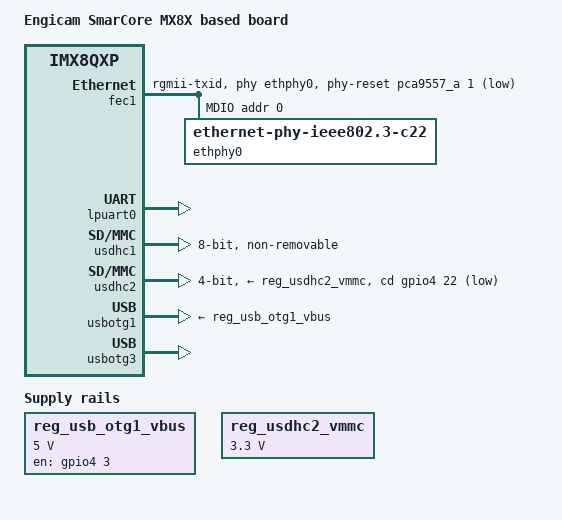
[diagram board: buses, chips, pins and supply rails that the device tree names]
// SPDX-License-Identifier: GPL-2.0+
/*
 * Copyright 2017-2019 NXP
 */

/dts-v1/;

#include "fsl-imx8qxp.dtsi"

/ {
	model = "Engicam SmarCore MX8X based board";
	compatible = "fsl,imx8qxp-lpddr4-arm2", "fsl,imx8qxp";

	aliases {
		gpio8 = &pca9557_a;
		gpio9 = &pca9557_b;
		gpio10 = &pca9557_c;
	};

	chosen {
		bootargs = "console=ttyLP0,115200 earlycon=lpuart32,0x5a060000,115200";
		stdout-path = &lpuart0;
	};

	regulators {
		compatible = "simple-bus";
		#address-cells = <1>;
		#size-cells = <0>;

		reg_usb_otg1_vbus: regulator@0 {
			compatible = "regulator-fixed";
			reg = <0>;
			regulator-name = "usb_otg1_vbus";
			regulator-min-microvolt = <5000000>;
			regulator-max-microvolt = <5000000>;
			gpio = <&gpio4 3 GPIO_ACTIVE_HIGH>;
			enable-active-high;
		};

		reg_usdhc2_vmmc: usdhc2_vmmc {
			compatible = "regulator-fixed";
			regulator-name = "usdhc2_vmmc";
			regulator-min-microvolt = <3300000>;
			regulator-max-microvolt = <3300000>;
			enable-active-high;
		};
	};
};

&iomuxc {
	pinctrl-names = "default";
	pinctrl-0 = <&pinctrl_hog_1>;

	imx8qxp-arm2 {
		pinctrl_hog_1: hoggrp-1 {
			fsl,pins = <
				SC_P_USB_SS3_TC0_LSIO_GPIO4_IO03	0x06000048
				SC_P_COMP_CTL_GPIO_1V8_3V3_GPIORHB_PAD	0x000514a0
			>;
		};

		pinctrl_fec1: fec1grp {
			fsl,pins = <
				SC_P_COMP_CTL_GPIO_1V8_3V3_ENET_ENETB0_PAD	0x000014a0
				SC_P_COMP_CTL_GPIO_1V8_3V3_ENET_ENETB1_PAD	0x000014a0
				SC_P_ENET0_MDC_CONN_ENET0_MDC			0x06000020
				SC_P_ENET0_MDIO_CONN_ENET0_MDIO			0x06000020
				SC_P_ENET0_RGMII_TX_CTL_CONN_ENET0_RGMII_TX_CTL	0x00000060
				SC_P_ENET0_RGMII_TXC_CONN_ENET0_RGMII_TXC	0x00000060
				SC_P_ENET0_RGMII_TXD0_CONN_ENET0_RGMII_TXD0	0x00000060
				SC_P_ENET0_RGMII_TXD1_CONN_ENET0_RGMII_TXD1	0x00000060
				SC_P_ENET0_RGMII_TXD2_CONN_ENET0_RGMII_TXD2	0x00000060
				SC_P_ENET0_RGMII_TXD3_CONN_ENET0_RGMII_TXD3	0x00000060
				SC_P_ENET0_RGMII_RXC_CONN_ENET0_RGMII_RXC	0x00000060
				SC_P_ENET0_RGMII_RX_CTL_CONN_ENET0_RGMII_RX_CTL	0x00000060
				SC_P_ENET0_RGMII_RXD0_CONN_ENET0_RGMII_RXD0	0x00000060
				SC_P_ENET0_RGMII_RXD1_CONN_ENET0_RGMII_RXD1	0x00000060
				SC_P_ENET0_RGMII_RXD2_CONN_ENET0_RGMII_RXD2	0x00000060
				SC_P_ENET0_RGMII_RXD3_CONN_ENET0_RGMII_RXD3	0x00000060
			>;
		};

		pinctrl_lpuart0: lpuart0grp {
			fsl,pins = <
				SC_P_UART0_RX_ADMA_UART0_RX	0x0600002c
				SC_P_UART0_TX_ADMA_UART0_TX	0x0600002c
			>;
		};

		pinctrl_usdhc1: usdhc1grp {
			fsl,pins = <
				SC_P_EMMC0_CLK_CONN_EMMC0_CLK		0x06000041
				SC_P_EMMC0_CMD_CONN_EMMC0_CMD		0x00000021
				SC_P_EMMC0_DATA0_CONN_EMMC0_DATA0	0x00000021
				SC_P_EMMC0_DATA1_CONN_EMMC0_DATA1	0x00000021
				SC_P_EMMC0_DATA2_CONN_EMMC0_DATA2	0x00000021
				SC_P_EMMC0_DATA3_CONN_EMMC0_DATA3	0x00000021
				SC_P_EMMC0_DATA4_CONN_EMMC0_DATA4	0x00000021
				SC_P_EMMC0_DATA5_CONN_EMMC0_DATA5	0x00000021
				SC_P_EMMC0_DATA6_CONN_EMMC0_DATA6	0x00000021
				SC_P_EMMC0_DATA7_CONN_EMMC0_DATA7	0x00000021
				SC_P_EMMC0_STROBE_CONN_EMMC0_STROBE	0x00000041
				SC_P_EMMC0_RESET_B_CONN_EMMC0_RESET_B	0x00000021
			>;
		};

		pinctrl_usdhc1_100mhz: usdhc1grp100mhz {
			fsl,pins = <
				SC_P_EMMC0_CLK_CONN_EMMC0_CLK		0x06000040
				SC_P_EMMC0_CMD_CONN_EMMC0_CMD		0x00000020
				SC_P_EMMC0_DATA0_CONN_EMMC0_DATA0	0x00000020
				SC_P_EMMC0_DATA1_CONN_EMMC0_DATA1	0x00000020
				SC_P_EMMC0_DATA2_CONN_EMMC0_DATA2	0x00000020
				SC_P_EMMC0_DATA3_CONN_EMMC0_DATA3	0x00000020
				SC_P_EMMC0_DATA4_CONN_EMMC0_DATA4	0x00000020
				SC_P_EMMC0_DATA5_CONN_EMMC0_DATA5	0x00000020
				SC_P_EMMC0_DATA6_CONN_EMMC0_DATA6	0x00000020
				SC_P_EMMC0_DATA7_CONN_EMMC0_DATA7	0x00000020
				SC_P_EMMC0_STROBE_CONN_EMMC0_STROBE	0x00000040
				SC_P_EMMC0_RESET_B_CONN_EMMC0_RESET_B	0x00000020
			>;
		};

		pinctrl_usdhc1_200mhz: usdhc1grp200mhz {
			fsl,pins = <
				SC_P_EMMC0_CLK_CONN_EMMC0_CLK		0x06000040
				SC_P_EMMC0_CMD_CONN_EMMC0_CMD		0x00000020
				SC_P_EMMC0_DATA0_CONN_EMMC0_DATA0	0x00000020
				SC_P_EMMC0_DATA1_CONN_EMMC0_DATA1	0x00000020
				SC_P_EMMC0_DATA2_CONN_EMMC0_DATA2	0x00000020
				SC_P_EMMC0_DATA3_CONN_EMMC0_DATA3	0x00000020
				SC_P_EMMC0_DATA4_CONN_EMMC0_DATA4	0x00000020
				SC_P_EMMC0_DATA5_CONN_EMMC0_DATA5	0x00000020
				SC_P_EMMC0_DATA6_CONN_EMMC0_DATA6	0x00000020
				SC_P_EMMC0_DATA7_CONN_EMMC0_DATA7	0x00000020
				SC_P_EMMC0_STROBE_CONN_EMMC0_STROBE	0x00000040
				SC_P_EMMC0_RESET_B_CONN_EMMC0_RESET_B	0x00000020
			>;
		};

		pinctrl_usdhc2_gpio: usdhc2gpiogrp {
			fsl,pins = <
				SC_P_USDHC1_CD_B_LSIO_GPIO4_IO22	0x00000021
			>;
		};

		pinctrl_usdhc2: usdhc2grp {
			fsl,pins = <
				SC_P_USDHC1_CLK_CONN_USDHC1_CLK		0x06000041
				SC_P_USDHC1_CMD_CONN_USDHC1_CMD		0x00000021
				SC_P_USDHC1_DATA0_CONN_USDHC1_DATA0	0x00000021
				SC_P_USDHC1_DATA1_CONN_USDHC1_DATA1	0x00000021
				SC_P_USDHC1_DATA2_CONN_USDHC1_DATA2	0x00000021
				SC_P_USDHC1_DATA3_CONN_USDHC1_DATA3	0x00000021
				SC_P_USDHC1_VSELECT_CONN_USDHC1_VSELECT	0x00000021
			>;
		};

		pinctrl_usdhc2_100mhz: usdhc2grp100mhz {
			fsl,pins = <
				SC_P_USDHC1_CLK_CONN_USDHC1_CLK		0x06000040
				SC_P_USDHC1_CMD_CONN_USDHC1_CMD		0x00000020
				SC_P_USDHC1_DATA0_CONN_USDHC1_DATA0	0x00000020
				SC_P_USDHC1_DATA1_CONN_USDHC1_DATA1	0x00000020
				SC_P_USDHC1_DATA2_CONN_USDHC1_DATA2	0x00000020
				SC_P_USDHC1_DATA3_CONN_USDHC1_DATA3	0x00000020
				SC_P_USDHC1_VSELECT_CONN_USDHC1_VSELECT	0x00000020
			>;
		};

		pinctrl_usdhc2_200mhz: usdhc2grp200mhz {
			fsl,pins = <
				SC_P_USDHC1_CLK_CONN_USDHC1_CLK		0x06000040
				SC_P_USDHC1_CMD_CONN_USDHC1_CMD		0x00000020
				SC_P_USDHC1_DATA0_CONN_USDHC1_DATA0	0x00000020
				SC_P_USDHC1_DATA1_CONN_USDHC1_DATA1	0x00000020
				SC_P_USDHC1_DATA2_CONN_USDHC1_DATA2	0x00000020
				SC_P_USDHC1_DATA3_CONN_USDHC1_DATA3	0x00000020
				SC_P_USDHC1_VSELECT_CONN_USDHC1_VSELECT	0x00000020
			>;
		};
	};
};

&gpio0 {
	status = "okay";
};

&gpio3 {
	status = "okay";
};

&gpio4 {
	status = "okay";
};

&fec1 {
	pinctrl-names = "default";
	pinctrl-0 = <&pinctrl_fec1>;
	phy-mode = "rgmii-txid";
	phy-handle = <&ethphy0>;
	fsl,magic-packet;
	fsl,rgmii_rxc_dly;
	status = "okay";
	phy-reset-gpios = <&pca9557_a 1 GPIO_ACTIVE_LOW>;
	phy-reset-duration = <10>;
	phy-reset-post-delay = <150>;

	mdio {
		#address-cells = <1>;
		#size-cells = <0>;

		ethphy0: ethernet-phy@0 {
			compatible = "ethernet-phy-ieee802.3-c22";
			reg = <0>;
			at803x,eee-disabled;
			at803x,vddio-1p8v;
		};

		ethphy1: ethernet-phy@1 {
			compatible = "ethernet-phy-ieee802.3-c22";
			reg = <1>;
			at803x,eee-disabled;
			at803x,vddio-1p8v;
			status = "disabled";
		};
	};
};

&fec2 {
	status = "disabled";
};

&flexspi0 {
	status = "disabled";
};

&i2c1 {
	status = "disabled";
};

&i2c3 {
	status = "disabled";
};

&i2c0_mipi_lvds0 {
	status = "disabled";
};

&i2c0_mipi_lvds1 {
	status = "disabled";
};

&lpuart0 {
	pinctrl-names = "default";
	pinctrl-0 = <&pinctrl_lpuart0>;
	status = "okay";
};

&usdhc1 {
	pinctrl-names = "default", "state_100mhz", "state_200mhz";
	pinctrl-0 = <&pinctrl_usdhc1>;
	pinctrl-1 = <&pinctrl_usdhc1_100mhz>;
	pinctrl-2 = <&pinctrl_usdhc1_200mhz>;
	bus-width = <8>;
	non-removable;
	status = "okay";
};

&usdhc2 {
	pinctrl-names = "default";
	pinctrl-0 = <&pinctrl_usdhc2>, <&pinctrl_usdhc2_gpio>;
	cd-gpios = <&gpio4 22 GPIO_ACTIVE_LOW>;
	max-frequency = <50000000>;
	bus-width = <4>;
	no-1-8-v;
	vmmc-supply = <&reg_usdhc2_vmmc>;
	status = "okay";
};

&usbotg1 {
	vbus-supply = <&reg_usb_otg1_vbus>;
	srp-disable;
	hnp-disable;
	adp-disable;
	disable-over-current;
	status = "okay";
};

&usbotg3 {
	status = "okay";
};
